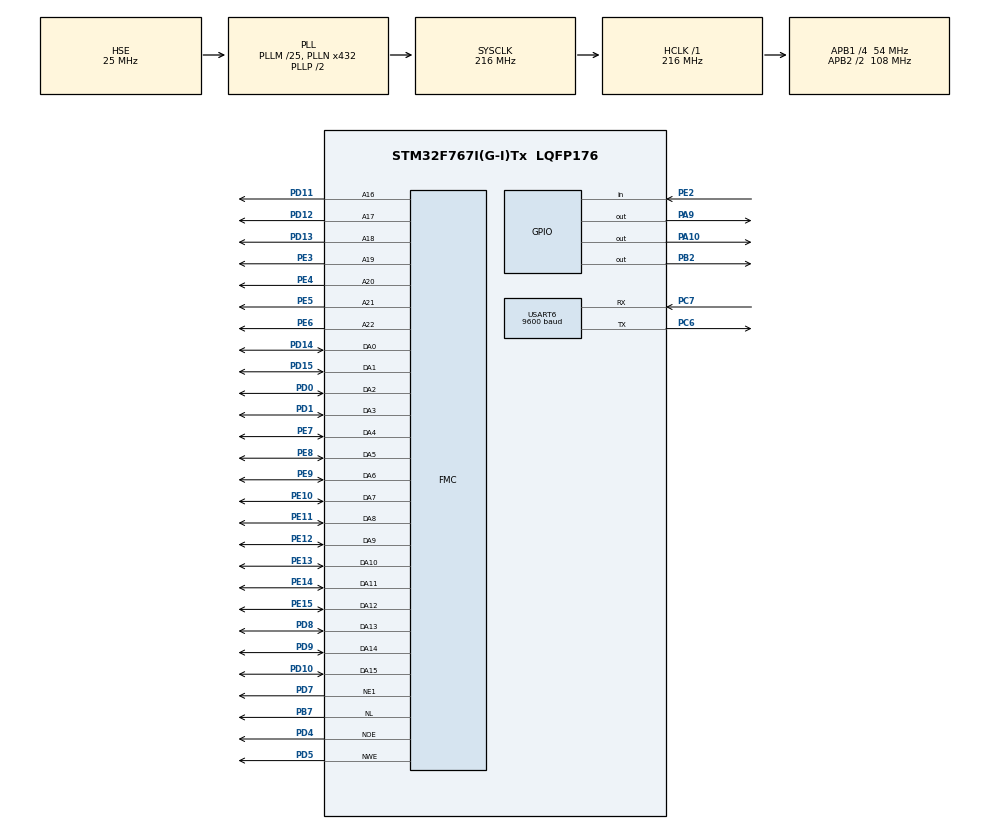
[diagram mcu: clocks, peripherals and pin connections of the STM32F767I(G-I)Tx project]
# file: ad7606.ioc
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FMC.WriteOperation1=FMC_WRITE_OPERATION_ENABLE
Mcu.Family=STM32F7
Mcu.Name=STM32F767I(G-I)Tx
Mcu.Package=LQFP176
NVIC.PriorityGroup=NVIC_PRIORITYGROUP_4
NVIC.USART6_IRQn=true\:0\:0\:false\:false\:true\:true\:true
PA10.GPIO_PuPd=GPIO_PULLUP
PA10.GPIO_Speed=GPIO_SPEED_FREQ_VERY_HIGH
PA10.PinState=GPIO_PIN_SET
PA10.Signal=GPIO_Output
PA14.Signal=SYS_JTCK-SWCLK
PA9.GPIO_PuPd=GPIO_PULLUP
PA9.GPIO_Speed=GPIO_SPEED_FREQ_VERY_HIGH
PA9.PinState=GPIO_PIN_SET
PA9.Signal=GPIO_Output
PB2.GPIO_PuPd=GPIO_PULLUP
PB2.GPIO_Speed=GPIO_SPEED_FREQ_VERY_HIGH
PB2.PinState=GPIO_PIN_SET
PB2.Signal=GPIO_Output
PB7.Signal=FMC_NL
PC6.Mode=Asynchronous
PC6.Signal=USART6_TX
PC7.Mode=Asynchronous
PC7.Signal=USART6_RX
PD0.Signal=FMC_D2_DA2
PD1.Signal=FMC_D3_DA3
PD10.Signal=FMC_D15_DA15
PD11.Signal=FMC_A16_CLE
PD12.Signal=FMC_A17_ALE
PD13.Signal=FMC_A18
PD14.Signal=FMC_D0_DA0
PD15.Signal=FMC_D1_DA1
PD4.Signal=FMC_NOE
PD5.Signal=FMC_NWE
PD7.Mode=NorPsramChipSelect1_1
PD7.Signal=FMC_NE1
PD8.Signal=FMC_D13_DA13
PD9.Signal=FMC_D14_DA14
PE10.Signal=FMC_D7_DA7
PE11.Signal=FMC_D8_DA8
PE12.Signal=FMC_D9_DA9
PE13.Signal=FMC_D10_DA10
PE14.Signal=FMC_D11_DA11
PE15.Signal=FMC_D12_DA12
PE2.Signal=GPIO_Input
PE3.Signal=FMC_A19
PE4.Signal=FMC_A20
PE5.Signal=FMC_A21
PE6.Signal=FMC_A22
PE7.Signal=FMC_D4_DA4
PE8.Signal=FMC_D5_DA5
PE9.Signal=FMC_D6_DA6
PH0/OSC_IN.Mode=HSE-External-Oscillator
PH0/OSC_IN.Signal=RCC_OSC_IN
PH1/OSC_OUT.Mode=HSE-External-Oscillator
PH1/OSC_OUT.Signal=RCC_OSC_OUT
ProjectManager.HeapSize=0x200
ProjectManager.StackSize=0x2000
ProjectManager.TargetToolchain=MDK-ARM V5.27
RCC.AHBFreq_Value=216000000
RCC.APB1CLKDivider=RCC_HCLK_DIV4
RCC.APB1Freq_Value=54000000
RCC.APB1TimFreq_Value=108000000
RCC.APB2CLKDivider=RCC_HCLK_DIV2
RCC.APB2Freq_Value=108000000
RCC.APB2TimFreq_Value=216000000
RCC.CortexFreq_Value=216000000
RCC.HCLKFreq_Value=216000000
RCC.HSE_VALUE=25000000
RCC.HSI_VALUE=16000000
RCC.LSE_VALUE=32768
RCC.PLLM=25
RCC.PLLN=432
RCC.PLLSourceVirtual=RCC_PLLSOURCE_HSE
RCC.SYSCLKFreq_VALUE=216000000
RCC.SYSCLKSource=RCC_SYSCLKSOURCE_PLLCLK
RCC.USBFreq_Value=216000000
RCC.VCOOutputFreq_Value=432000000
SH.FMC_A16_CLE.0=FMC_A16,23b-da1
SH.FMC_A17_ALE.0=FMC_A17,23b-da1
SH.FMC_A18.0=FMC_A18,23b-da1
SH.FMC_A19.0=FMC_A19,23b-da1
SH.FMC_A20.0=FMC_A20,23b-da1
SH.FMC_A21.0=FMC_A21,23b-da1
SH.FMC_A22.0=FMC_A22,23b-da1
SH.FMC_D0_DA0.0=FMC_DA0,23b-da1
SH.FMC_D10_DA10.0=FMC_DA10,23b-da1
SH.FMC_D11_DA11.0=FMC_DA11,23b-da1
SH.FMC_D12_DA12.0=FMC_DA12,23b-da1
SH.FMC_D13_DA13.0=FMC_DA13,23b-da1
SH.FMC_D14_DA14.0=FMC_DA14,23b-da1
SH.FMC_D15_DA15.0=FMC_DA15,23b-da1
SH.FMC_D1_DA1.0=FMC_DA1,23b-da1
SH.FMC_D2_DA2.0=FMC_DA2,23b-da1
SH.FMC_D3_DA3.0=FMC_DA3,23b-da1
SH.FMC_D4_DA4.0=FMC_DA4,23b-da1
SH.FMC_D5_DA5.0=FMC_DA5,23b-da1
SH.FMC_D6_DA6.0=FMC_DA6,23b-da1
SH.FMC_D7_DA7.0=FMC_DA7,23b-da1
SH.FMC_D8_DA8.0=FMC_DA8,23b-da1
SH.FMC_D9_DA9.0=FMC_DA9,23b-da1
SH.FMC_NL.0=FMC_NL,AddressValid1
SH.FMC_NOE.0=FMC_NOE,MuxedNorFlash1
SH.FMC_NWE.0=FMC_NWE,MuxedNorFlash1
USART6.BaudRate=9600
USART6.VirtualMode-Asynchronous=VM_ASYNC
board=custom

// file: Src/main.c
/* USER CODE BEGIN Header */
/**
  ******************************************************************************
  * @file           : main.c
  * @brief          : Main program body
  ******************************************************************************
  * @attention
  *
  * <h2><center>&copy; Copyright (c) 2020 STMicroelectronics.
  * All rights reserved.</center></h2>
  *
  * This software component is licensed by ST under BSD 3-Clause license,
  * the "License"; You may not use this file except in compliance with the
  * License. You may obtain a copy of the License at:
  *                        opensource.org/licenses/BSD-3-Clause
  *
  ******************************************************************************
  */
/* USER CODE END Header */

#include "main.h"
#include "usart.h"
#include "gpio.h"
#include "fmc.h"

/* USER CODE BEGIN Includes */
#include "usart6.h"
#include <ctype.h>
#include <string.h>
#include <stdlib.h>
#include <stdio.h>
/* USER CODE END Includes */

/* USER CODE BEGIN PM */
#define MODE 0//0:电压采集，无滤波；1:电流采集，无滤波；
/* USER CODE END PM */

void SystemClock_Config(void);
static int sample_start(void);
static int read_start(void);
/* USER CODE BEGIN PFP */
static int test_process(void);
/* USER CODE END PFP */

int main(void)
{
  /* USER CODE BEGIN 1 */
	char buffer[15];
  /* USER CODE END 1 */

  /* MCU Configuration--------------------------------------------------------*/

  /* Reset of all peripherals, Initializes the Flash interface and the Systick. */
  HAL_Init();

  /* Configure the system clock */
  SystemClock_Config();

  /* Initialize all configured peripherals */
  MX_GPIO_Init();
  MX_FMC_Init();
  MX_USART6_UART_Init();
  /* USER CODE BEGIN 2 */
	usart6.initialize(115200);
	LED_GREEN_ON;
	usart6.printf("*AD7606 iCore4	test......\r\n");
  /* USER CODE END 2 */

  /* Infinite loop */
  while (1)
  {

    /* USER CODE BEGIN 3 */
		if(usart6.receive_ok_flag){
			usart6.receive_ok_flag = 0;
				memset(buffer,0,sizeof(buffer));
				memcpy(buffer,usart6.receive_buffer,30);
				if(memcmp(buffer,"test",strlen("test"))==0){
					memset(buffer,0,sizeof(buffer));
					test_process();
				}
		}
  }
  /* USER CODE END 3 */
}

void SystemClock_Config(void)
{
  RCC_OscInitTypeDef RCC_OscInitStruct = {0};
  RCC_ClkInitTypeDef RCC_ClkInitStruct = {0};
  RCC_PeriphCLKInitTypeDef PeriphClkInitStruct = {0};

  /** Configure the main internal regulator output voltage
  */
  __HAL_RCC_PWR_CLK_ENABLE();
  __HAL_PWR_VOLTAGESCALING_CONFIG(PWR_REGULATOR_VOLTAGE_SCALE1);
  /** Initializes the CPU, AHB and APB busses clocks
  */
  RCC_OscInitStruct.OscillatorType = RCC_OSCILLATORTYPE_HSE;
  RCC_OscInitStruct.HSEState = RCC_HSE_ON;
  RCC_OscInitStruct.PLL.PLLState = RCC_PLL_ON;
  RCC_OscInitStruct.PLL.PLLSource = RCC_PLLSOURCE_HSE;
  RCC_OscInitStruct.PLL.PLLM = 25;
  RCC_OscInitStruct.PLL.PLLN = 432;
  RCC_OscInitStruct.PLL.PLLP = RCC_PLLP_DIV2;
  RCC_OscInitStruct.PLL.PLLQ = 2;
  if (HAL_RCC_OscConfig(&RCC_OscInitStruct) != HAL_OK)
  {
    Error_Handler();
  }
  /** Activate the Over-Drive mode
  */
  if (HAL_PWREx_EnableOverDrive() != HAL_OK)
  {
    Error_Handler();
  }
  /** Initializes the CPU, AHB and APB busses clocks
  */
  RCC_ClkInitStruct.ClockType = RCC_CLOCKTYPE_HCLK|RCC_CLOCKTYPE_SYSCLK
                              |RCC_CLOCKTYPE_PCLK1|RCC_CLOCKTYPE_PCLK2;
  RCC_ClkInitStruct.SYSCLKSource = RCC_SYSCLKSOURCE_PLLCLK;
  RCC_ClkInitStruct.AHBCLKDivider = RCC_SYSCLK_DIV1;
  RCC_ClkInitStruct.APB1CLKDivider = RCC_HCLK_DIV4;
  RCC_ClkInitStruct.APB2CLKDivider = RCC_HCLK_DIV2;

  if (HAL_RCC_ClockConfig(&RCC_ClkInitStruct, FLASH_LATENCY_7) != HAL_OK)
  {
    Error_Handler();
  }
  PeriphClkInitStruct.PeriphClockSelection = RCC_PERIPHCLK_USART6;
  PeriphClkInitStruct.Usart6ClockSelection = RCC_USART6CLKSOURCE_PCLK2;
  if (HAL_RCCEx_PeriphCLKConfig(&PeriphClkInitStruct) != HAL_OK)
  {
    Error_Handler();
  }
}

/* USER CODE BEGIN 4 */
/*发送开始采样控制信号*/
static int sample_start(void)
{
	int n;

	fpga_write(0,0);
	for(n=0;n<5;n++);
	fpga_write(1,1);//开始采样信号，向地址1写1
	for(n=0;n<5;n++);
	fpga_write(0,0);
	for(n=0;n<5;n++);

	return 0;
}

/*发送开始读取信号*/
static int read_start(void)
{
	int m;

	fpga_write(0,0);//开始读取数据
	for(m=0;m<5;m++);
	fpga_write(55,55);//向寄存器55写55，表示ARM开始从RAM读取数据。
	for(m=0;m<5;m++);
	fpga_write(0,0);
	for(m=0;m<5;m++);

	return 0;
}

static int test_process(void)
{
	int i,j,k;
	short int fsmc_read_data1[1024];
	float temp;

	usart6.printf("\033[1;32;40m"); //显示绿色
	usart6.printf("................................\r\n");
	usart6.printf("*AD7606 data test......\r\n");

	//开始采样
	sample_start();//	发送开始采样信号
	HAL_Delay(50);//延时50ms，等待采样完成

	for(j=0;j<8;j++){
		//获取通道数据
		read_start();//发送开始读取数据信号
		k = 56 + j;
		for(i=0;i<1024;i++)
		fsmc_read_data1[i] = fpga_read(k);

		#if MODE==0//电压采样，无滤波
		usart6.printf("*Get Channel(%d) Voltage Data(V)......\r\n",j);
		for(i = 0;i < 1024;i ++){
			temp = fsmc_read_data1[i] * 5.0/32768;
			if(i%25==0){
				usart6.printf("\r\n");
				}
			usart6.printf("%.4f\t ",temp);
		}
		usart6.printf("\r\n");

		#elif MODE==1//电流采样，无滤波
			usart6.printf("*Get Channel(%d) Current Data(mA)......\r\n",j);
			for(i = 0;i < 1024;i ++){
				temp = fsmc_read_data1[i] * 5.0/32768;
				temp = temp * 1000 / 200.0;
				if(i%25==0){
					usart6.printf("\r\n");
					}
				usart6.printf("%.4f\t",temp);
			}
			usart6.printf("\r\n");
		#endif
	}

	usart6.printf("\r\n");
	usart6.printf("\033[1;34;40m>>\033[0;37;40m");

	return 0;
}

/* USER CODE END 4 */

void Error_Handler(void)
{
}

/************************ (C) COPYRIGHT STMicroelectronics *****END OF FILE****/
